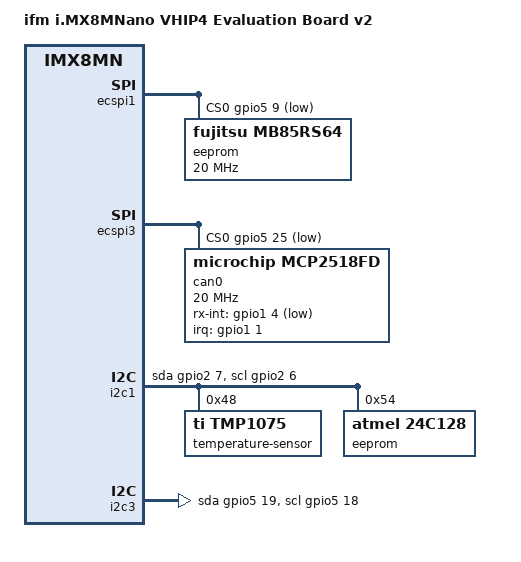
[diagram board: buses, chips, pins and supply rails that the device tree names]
// SPDX-License-Identifier: (GPL-2.0+ OR MIT)
/*
 * Copyright 2024 Fedor Ross <fedor.ross@ifm.com>
 */

/dts-v1/;

#include "imx8mn-vhip4-evalboard-common.dtsi"

/ {
	model = "ifm i.MX8MNano VHIP4 Evaluation Board v2";
	compatible = "ifm,imx8mn-vhip4-evalboard-v2", "ifm,imx8mn-vhip4-evalboard",
		     "ifm,imx8mn-vhip4", "fsl,imx8mn";

	multi-led {
		compatible = "leds-group-multicolor";
		color = <LED_COLOR_ID_RGB>;
		function = LED_FUNCTION_INDICATOR;
		leds = <&rgb_0>, <&rgb_1>, <&rgb_2>;
	};
};

&ifm_led {
	pinctrl-1 = <&pinctrl_gpio_led_v2>;

	rgb_0: rgb-led-red {
		color = <LED_COLOR_ID_RED>;
		gpios = <&gpio2 17 GPIO_ACTIVE_HIGH>;
		default-state = "keep";
	};

	rgb_1: rgb-led-green {
		color = <LED_COLOR_ID_GREEN>;
		gpios = <&gpio2 19 GPIO_ACTIVE_HIGH>;
		default-state = "keep";
	};

	rgb_2: rgb-led-blue {
		color = <LED_COLOR_ID_BLUE>;
		gpios = <&gpio2 20 GPIO_ACTIVE_HIGH>;
		default-state = "keep";
	};
};

&ecspi1 {
	cs-gpios = <&gpio5 9 GPIO_ACTIVE_LOW>, <&gpio1 11 GPIO_ACTIVE_LOW>;
	status = "okay";

	eeprom@0 {
		compatible = "fujitsu,mb85rs64", "atmel,at25";
		reg = <0>;
		spi-max-frequency = <20000000>;
		spi-cpha;
		spi-cpol;
		pagesize = <1>;
		size = <32768>;
		address-width = <16>;
	};
};

&ecspi3 {
	cs-gpios = <&gpio5 25 GPIO_ACTIVE_LOW>;
	status = "okay";

	can0: can@0 {
		compatible = "microchip,mcp2518fd";
		pinctrl-names = "default";
		pinctrl-0 = <&pinctrl_mcp2518>;
		reg = <0>;
		clocks = <&can_clk40m>;
		interrupt-parent = <&gpio1>;
		interrupts = <1 IRQ_TYPE_LEVEL_LOW>;
		microchip,rx-int-gpios = <&gpio1 4 GPIO_ACTIVE_LOW>;
		spi-max-frequency = <20000000>;
	};
};

&i2c1 {
	scl-gpios = <&gpio2 6 (GPIO_ACTIVE_HIGH | GPIO_OPEN_DRAIN)>;
	sda-gpios = <&gpio2 7 GPIO_ACTIVE_HIGH>;
	status = "okay";

	temperature-sensor@48 {
		compatible = "ti,tmp1075";
		reg = <0x48>;
	};

	eeprom@54 {
		compatible = "atmel,24c128";
		reg = <0x54>;
	};
};

&i2c3 {
	scl-gpios = <&gpio5 18 (GPIO_ACTIVE_HIGH | GPIO_OPEN_DRAIN)>;
	sda-gpios = <&gpio5 19 GPIO_ACTIVE_HIGH>;
	status = "okay";
};

&ifm_pmic {
	interrupt-parent = <&gpio5>;
	interrupts = <17 GPIO_ACTIVE_LOW>;
};

&iomuxc {
	pinctrl_ecspi1_cs: ecspi1-cs-grp {
		fsl,pins = <
			/* KS8794 nCS */
			MX8MN_IOMUXC_GPIO1_IO11_GPIO1_IO11		0x150
			/* Retain memory nCS (FRAM or MRAM) */
			MX8MN_IOMUXC_ECSPI1_SS0_GPIO5_IO9		0x150
			/* RETAIN_nHOLD */
			MX8MN_IOMUXC_SPDIF_RX_GPIO5_IO4			0x140
		>;
	};

	pinctrl_ecspi3_cs: ecspi3-cs-grp {
		fsl,pins = <
			/* MCP2518FD nCS */
			MX8MN_IOMUXC_UART2_TXD_GPIO5_IO25		0x150
		>;
	};

	pinctrl_gpio_led_v2: gpioled-v2-grp {
		fsl,pins = <
			/* LED_RGB_RED */
			MX8MN_IOMUXC_SD2_DATA2_GPIO2_IO17		0x116
			/* LED_RGB_GREEN */
			MX8MN_IOMUXC_SD2_RESET_B_GPIO2_IO19		0x116
			/* LED_RGB_BLUE */
			MX8MN_IOMUXC_SD2_WP_GPIO2_IO20			0x116
		>;
	};

	pinctrl_i2c1: i2c1-grp {
		fsl,pins = <
			MX8MN_IOMUXC_SD1_DATA4_I2C1_SCL			0x40000056
			MX8MN_IOMUXC_SD1_DATA5_I2C1_SDA			0x400000d6
		>;
	};

	pinctrl_i2c1_gpio: i2c1-gpio-grp {
		fsl,pins = <
			MX8MN_IOMUXC_SD1_DATA4_GPIO2_IO6		0x56
			MX8MN_IOMUXC_SD1_DATA5_GPIO2_IO7		0xd6
			/* CFG_EEPROM_WP */
			MX8MN_IOMUXC_SD1_STROBE_GPIO2_IO11		0x140
			/* RTC_nIRQ */
			MX8MN_IOMUXC_SPDIF_EXT_CLK_GPIO5_IO5		0x116
			/* LOG_EE_WP */
			MX8MN_IOMUXC_SPDIF_TX_GPIO5_IO3			0x140
		>;
	};

	pinctrl_i2c3: i2c3-grp {
		fsl,pins = <
			MX8MN_IOMUXC_I2C3_SCL_I2C3_SCL			0x40000056
			MX8MN_IOMUXC_I2C3_SDA_I2C3_SDA			0x400000d6
		>;
	};

	pinctrl_i2c3_gpio: i2c3-gpio-grp {
		fsl,pins = <
			MX8MN_IOMUXC_I2C3_SCL_GPIO5_IO18		0x56
			MX8MN_IOMUXC_I2C3_SDA_GPIO5_IO19		0xd6
		>;
	};

	pinctrl_mcp2518: mcp2518-grp {
		fsl,pins = <
			/* CAN0_CLKO */
			MX8MN_IOMUXC_GPIO1_IO00_GPIO1_IO0		0x116
			/* CAN0_nINT0 */
			MX8MN_IOMUXC_GPIO1_IO03_GPIO1_IO3		0x116
			/* CAN0_nINT1 */
			MX8MN_IOMUXC_GPIO1_IO04_GPIO1_IO4		0x116
			/* CAN0_nINT */
			MX8MN_IOMUXC_GPIO1_IO01_GPIO1_IO1		0x116
		>;
	};

	pinctrl_pmic: pmic-irq-grp {
		fsl,pins = <
			/* PMIC_nIRQ */
			MX8MN_IOMUXC_I2C2_SDA_GPIO5_IO17		0x1d6
		>;
	};

	pinctrl_uart3: uart3-grp {
		fsl,pins = <
			MX8MN_IOMUXC_SD1_DATA6_UART3_DCE_TX		0x142
			MX8MN_IOMUXC_SD1_DATA7_UART3_DCE_RX		0x142
		>;
	};

	pinctrl_wdog: wdog-grp {
		fsl,pins = <
			MX8MN_IOMUXC_GPIO1_IO02_WDOG1_WDOG_B		0x64
		>;
	};
};

&gpio2 {
	gpio-line-names =
		"", "", "", "", "", "", "", "",
		"", "", "",
		"ifm_device_info_eeprom_wp",
		"", "", "", "",
		"", "", "", "", "", "", "", "",
		"", "", "", "", "", "", "", "";
};

&gpio5 {
	gpio-line-names =
		"", "", "",
		"ifm_logging_eeprom_wp",
		"", "", "", "",
		"", "", "", "", "", "", "", "",
		"", "", "", "",	"", "", "", "",
		"", "", "", "", "", "", "", "";
};
